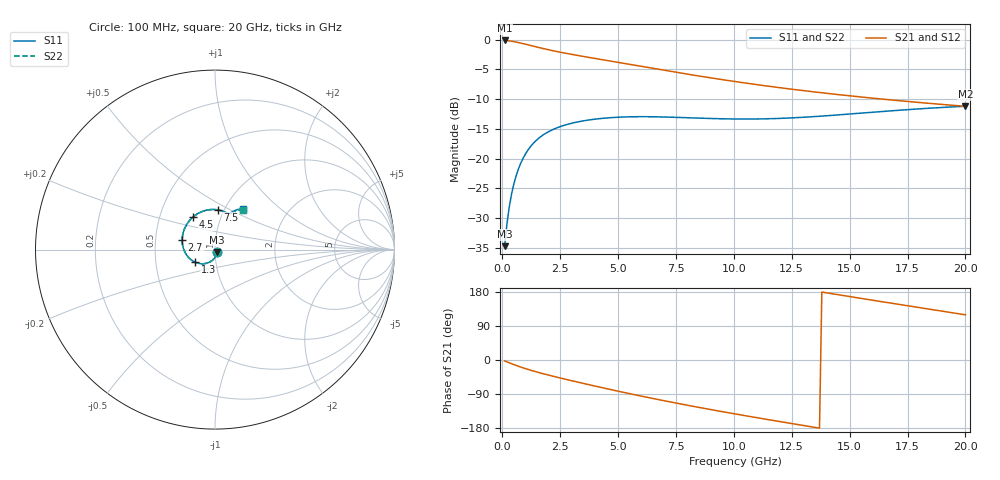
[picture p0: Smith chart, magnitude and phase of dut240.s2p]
! Touchstone file exported from HFSS 2023.1.0
!  File:  D:/Users/fzz/RDL_TSV/temp_RDL_TSV_240_1778759361.aedt
!  Generated:  7:56:58 %x4E0B%x5348  5%x6708 14, 2026
!  Design:  RDL_TSV
!  Project:  temp_RDL_TSV_240_1778759361
!  Setup:  Setup1
!  Solution:  Sweep
! Variables:
!  dtsv = 20.3um
!  hbump = 3um
!  htsv = 93.55um
!  ldown = 470.3um
!  lrdl = 364.32um
!  p = 40
!  p1 = 51.73um
!  rhole = 10um
!  subl = 2868.18um
!  t = 450um
!  tdown = 4.64um
!  trdl = 2.42um
!  viad = 10um
!  wdown = 22.83um
!  wrdl = 24.6um
!  xbump = 18um
# GHz S MA R 50.000000
! Terminal data exported
! Port[1] = TM1_1_T1
! Port[2] = TM1_4_T1
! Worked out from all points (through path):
!   200 points, 100 MHz to 20 GHz, reference 50 ohm
!   highest |S21| = -0.13 dB at 100 MHz (marker M1); lowest = -11.2 dB at 20 GHz (marker M2)
!   group delay of S21, straight-line fit = 31.6 ps
!   lowest |S11| = -34.7 dB at 100 MHz (marker M3), VSWR 1.04, Z = 51.3 - j1.34 ohm
!   |S11| at or under -10 dB: start of sweep to end of sweep
!   |S22| runs from -34.7 to -11.3 dB; largest |S21 - S12| = 2.1e-14
!   S11 on the Smith chart (normalised r, x): 100 MHz: 1.03, -0.03; 1.3 GHz: 0.79, -0.11; 2.7 GHz: 0.69, +0.08; 4.5 GHz: 0.74, +0.28; 7.5 GHz: 0.93, +0.43; 20 GHz: 1.21, +0.59
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0.1  0.01831 -45.4  0.985 -2.5  0.985 -2.5  0.01831 -45.4
! Gamma 0 0 0 0
! Port Impedance 50 0 50 0
0.2  0.02809 -70.9  0.9816 -5.0  0.9816 -5.0  0.0281 -70.8
0.3  0.03908 -85.2  0.9766 -7.4  0.9766 -7.4  0.0391 -85.1
0.4  0.05024 -95.3  0.9703 -9.8  0.9703 -9.8  0.05026 -95.3
0.5  0.0612 -103.5  0.9629 -12.1  0.9629 -12.1  0.06122 -103.5
0.6  0.0718 -110.6  0.9547 -14.4  0.9547 -14.4  0.07183 -110.6
0.8  0.09158 -122.9  0.9362 -18.7  0.9362 -18.7  0.0916 -122.9
1  0.1092 -133.7  0.9162 -22.7  0.9162 -22.7  0.1092 -133.7
1.3  0.1316 -148.0  0.8858 -28.3  0.8858 -28.3  0.1316 -147.9
1.9  0.1641 -171.7  0.8303 -38.4  0.8303 -38.4  0.164 -171.6
2.7  0.1911 163.3  0.7711 -50.4  0.7711 -50.4  0.1908 163.4
3.5  0.2075 143.4  0.7226 -61.8  0.7226 -61.8  0.2072 143.5
4.5  0.2194 123.5  0.6691 -75.6  0.6691 -75.6  0.2188 123.6
5.7  0.2248 105.1  0.6103 -91.4  0.6103 -91.4  0.2241 105.2
6.8  0.2241 92.5  0.5609 -105.2  0.5609 -105.2  0.2234 92.5
7.5  0.2221 86.3  0.532 -113.6  0.532 -113.6  0.2214 86.2
8.8  0.2177 77.9  0.484 -128.6  0.484 -128.6  0.2169 77.7
10.1  0.215 72.6  0.4429 -142.8  0.4429 -142.8  0.2141 72.4
11.7  0.2167 68.9  0.401 -159.6  0.401 -159.6  0.2154 68.6
13.4  0.2248 66.5  0.3649 -176.8  0.3649 -176.8  0.2231 66.0
16.7  0.2513 61.6  0.3123 150.9  0.3123 150.9  0.2485 61.0
20  0.2753 55.5  0.275 119.3  0.275 119.3  0.2717 54.9
